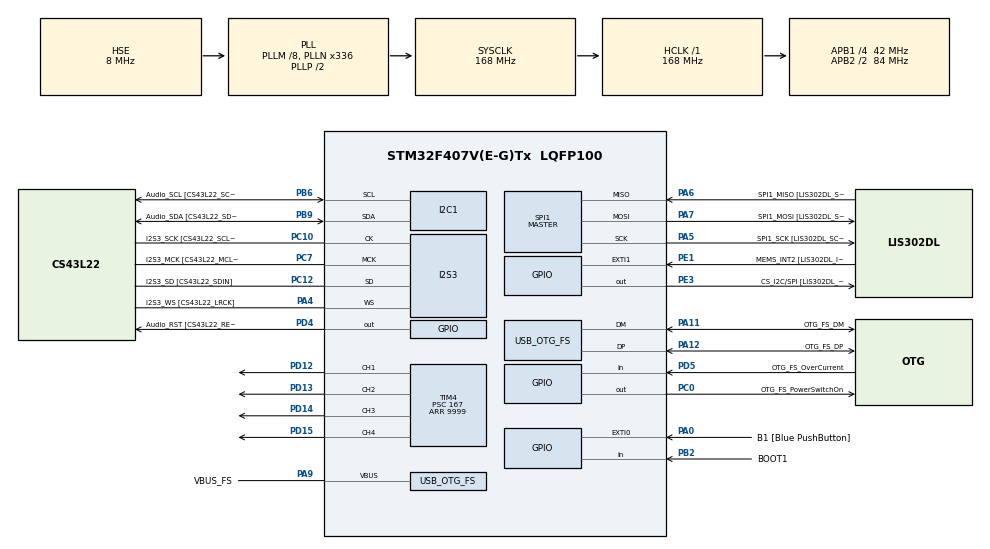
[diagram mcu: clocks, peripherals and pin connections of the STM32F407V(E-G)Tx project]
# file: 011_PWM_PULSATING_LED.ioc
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I2S3.AudioFreq-Half_Duplex_Master=I2S_AUDIOFREQ_96K
I2S3.ErrorAudioFreq=-2.34 %
I2S3.ErrorAudioFreq-Half_Duplex_Master=0.8 %
I2S3.FullDuplexMode=I2S_FULLDUPLEXMODE_DISABLE
I2S3.Instance=SPI$Index
I2S3.RealAudioFreq=93.75 KHz
I2S3.RealAudioFreq-Half_Duplex_Master=96.774 KHz
I2S3.VirtualMode=I2S_MODE_MASTER
Mcu.Family=STM32F4
Mcu.Name=STM32F407V(E-G)Tx
Mcu.Package=LQFP100
NVIC.OTG_FS_IRQn=true\:0\:0\:false\:false\:true\:true\:true\:true
NVIC.PriorityGroup=NVIC_PRIORITYGROUP_0
PA0-WKUP.GPIO_Label=B1 [Blue PushButton]
PA0-WKUP.GPIO_ModeDefaultEXTI=GPIO_MODE_EVT_RISING
PA0-WKUP.GPIO_PuPd=GPIO_NOPULL
PA0-WKUP.Signal=GPXTI0
PA10.GPIO_Label=OTG_FS_ID
PA10.GPIO_Mode=GPIO_MODE_AF_PP
PA10.GPIO_PuPd=GPIO_NOPULL
PA10.GPIO_Speed=GPIO_SPEED_FREQ_LOW
PA10.Signal=USB_OTG_FS_ID
PA11.GPIO_Label=OTG_FS_DM
PA11.GPIO_Mode=GPIO_MODE_AF_PP
PA11.GPIO_PuPd=GPIO_NOPULL
PA11.GPIO_Speed=GPIO_SPEED_FREQ_LOW
PA11.Mode=Host_Only
PA11.Signal=USB_OTG_FS_DM
PA12.GPIO_Label=OTG_FS_DP
PA12.GPIO_Mode=GPIO_MODE_AF_PP
PA12.GPIO_PuPd=GPIO_NOPULL
PA12.GPIO_Speed=GPIO_SPEED_FREQ_LOW
PA12.Mode=Host_Only
PA12.Signal=USB_OTG_FS_DP
PA13.GPIO_Label=SWDIO
PA13.Mode=Serial_Wire
PA13.Signal=SYS_JTMS-SWDIO
PA14.GPIO_Label=SWCLK
PA14.Mode=Serial_Wire
PA14.Signal=SYS_JTCK-SWCLK
PA4.GPIO_Label=I2S3_WS [CS43L22_LRCK]
PA4.GPIO_Mode=GPIO_MODE_AF_PP
PA4.GPIO_PuPd=GPIO_NOPULL
PA4.GPIO_Speed=GPIO_SPEED_FREQ_LOW
PA4.Mode=Half_Duplex_Master
PA4.Signal=I2S3_WS
PA5.GPIO_Label=SPI1_SCK [LIS302DL_SCL/SPC]
PA5.GPIO_Mode=GPIO_MODE_AF_PP
PA5.GPIO_PuPd=GPIO_NOPULL
PA5.GPIO_Speed=GPIO_SPEED_FREQ_LOW
PA5.Mode=Full_Duplex_Master
PA5.Signal=SPI1_SCK
PA6.GPIO_Label=SPI1_MISO [LIS302DL_SDO]
PA6.GPIO_Mode=GPIO_MODE_AF_PP
PA6.GPIO_PuPd=GPIO_NOPULL
PA6.GPIO_Speed=GPIO_SPEED_FREQ_LOW
PA6.Mode=Full_Duplex_Master
PA6.Signal=SPI1_MISO
PA7.GPIO_Label=SPI1_MOSI [LIS302DL_SDA/SDI/SDO]
PA7.GPIO_Mode=GPIO_MODE_AF_PP
PA7.GPIO_PuPd=GPIO_NOPULL
PA7.GPIO_Speed=GPIO_SPEED_FREQ_LOW
PA7.Mode=Full_Duplex_Master
PA7.Signal=SPI1_MOSI
PA9.GPIO_Label=VBUS_FS
PA9.GPIO_Mode=GPIO_MODE_INPUT
PA9.GPIO_PuPd=GPIO_NOPULL
PA9.Mode=Activate_VBUS
PA9.Signal=USB_OTG_FS_VBUS
PB10.GPIO_Label=CLK_IN [MP45DT02_CLK]
PB10.GPIO_Mode=GPIO_MODE_AF_PP
PB10.GPIO_PuPd=GPIO_NOPULL
PB10.GPIO_Speed=GPIO_SPEED_FREQ_LOW
PB10.Signal=I2S2_CK
PB2.GPIO_Label=BOOT1
PB2.GPIO_Mode=GPIO_MODE_INPUT
PB2.GPIO_PuPd=GPIO_NOPULL
PB2.Signal=GPIO_Input
PB3.GPIO_Label=SWO
PB3.Signal=SYS_JTDO-SWO
PB6.GPIO_Label=Audio_SCL [CS43L22_SCL]
PB6.GPIO_Mode=GPIO_MODE_AF_OD
PB6.GPIO_PuPd=GPIO_NOPULL
PB6.GPIO_Speed=GPIO_SPEED_FREQ_LOW
PB6.Mode=I2C
PB6.Signal=I2C1_SCL
PB9.GPIO_Label=Audio_SDA [CS43L22_SDA]
PB9.GPIO_Mode=GPIO_MODE_AF_OD
PB9.GPIO_PuPd=GPIO_NOPULL
PB9.GPIO_Speed=GPIO_SPEED_FREQ_LOW
PB9.Mode=I2C
PB9.Signal=I2C1_SDA
PC0.GPIO_Label=OTG_FS_PowerSwitchOn
PC0.GPIO_PuPd=GPIO_NOPULL
PC0.GPIO_Speed=GPIO_SPEED_FREQ_LOW
PC0.PinState=GPIO_PIN_SET
PC0.Signal=GPIO_Output
PC10.GPIO_Label=I2S3_SCK [CS43L22_SCLK]
PC10.GPIO_Mode=GPIO_MODE_AF_PP
PC10.GPIO_PuPd=GPIO_NOPULL
PC10.GPIO_Speed=GPIO_SPEED_FREQ_LOW
PC10.Mode=Half_Duplex_Master
PC10.Signal=I2S3_CK
PC12.GPIO_Label=I2S3_SD [CS43L22_SDIN]
PC12.GPIO_Mode=GPIO_MODE_AF_PP
PC12.GPIO_PuPd=GPIO_NOPULL
PC12.GPIO_Speed=GPIO_SPEED_FREQ_LOW
PC12.Mode=Half_Duplex_Master
PC12.Signal=I2S3_SD
PC14-OSC32_IN.GPIO_Label=PC14-OSC32_IN
PC14-OSC32_IN.Mode=LSE-External-Oscillator
PC14-OSC32_IN.Signal=RCC_OSC32_IN
PC15-OSC32_OUT.GPIO_Label=PC15-OSC32_OUT
PC15-OSC32_OUT.Mode=LSE-External-Oscillator
PC15-OSC32_OUT.Signal=RCC_OSC32_OUT
PC3.GPIO_Label=PDM_OUT [MP45DT02_DOUT]
PC3.GPIO_Mode=GPIO_MODE_AF_PP
PC3.GPIO_PuPd=GPIO_NOPULL
PC3.GPIO_Speed=GPIO_SPEED_FREQ_LOW
PC3.Signal=I2S2_SD
PC7.GPIO_Label=I2S3_MCK [CS43L22_MCLK]
PC7.GPIO_Mode=GPIO_MODE_AF_PP
PC7.GPIO_PuPd=GPIO_NOPULL
PC7.GPIO_Speed=GPIO_SPEED_FREQ_LOW
PC7.Mode=Master_Clock_Activated
PC7.Signal=I2S3_MCK
PD12.Signal=S_TIM4_CH1
PD13.Signal=S_TIM4_CH2
PD14.Signal=S_TIM4_CH3
PD15.Signal=S_TIM4_CH4
PD4.GPIO_Label=Audio_RST [CS43L22_RESET]
PD4.GPIO_PuPd=GPIO_NOPULL
PD4.GPIO_Speed=GPIO_SPEED_FREQ_LOW
PD4.Signal=GPIO_Output
PD5.GPIO_Label=OTG_FS_OverCurrent
PD5.GPIO_Mode=GPIO_MODE_INPUT
PD5.GPIO_PuPd=GPIO_NOPULL
PD5.Signal=GPIO_Input
PE1.GPIO_Label=MEMS_INT2 [LIS302DL_INT2]
PE1.GPIO_ModeDefaultEXTI=GPIO_MODE_EVT_RISING
PE1.GPIO_PuPd=GPIO_NOPULL
PE1.Signal=GPXTI1
PE3.GPIO_Label=CS_I2C/SPI [LIS302DL_CS_I2C/SPI]
PE3.GPIO_PuPd=GPIO_NOPULL
PE3.GPIO_Speed=GPIO_SPEED_FREQ_LOW
PE3.Signal=GPIO_Output
PH0-OSC_IN.GPIO_Label=PH0-OSC_IN
PH0-OSC_IN.Mode=HSE-External-Oscillator
PH0-OSC_IN.Signal=RCC_OSC_IN
PH1-OSC_OUT.GPIO_Label=PH1-OSC_OUT
PH1-OSC_OUT.Mode=HSE-External-Oscillator
PH1-OSC_OUT.Signal=RCC_OSC_OUT
ProjectManager.HeapSize=0x200
ProjectManager.StackSize=0x400
ProjectManager.TargetToolchain=STM32CubeIDE
RCC.48MHZClocksFreq_Value=48000000
RCC.AHBFreq_Value=168000000
RCC.APB1CLKDivider=RCC_HCLK_DIV4
RCC.APB1Freq_Value=42000000
RCC.APB1TimFreq_Value=84000000
RCC.APB2CLKDivider=RCC_HCLK_DIV2
RCC.APB2Freq_Value=84000000
RCC.APB2TimFreq_Value=168000000
RCC.CortexFreq_Value=168000000
RCC.HCLKFreq_Value=168000000
RCC.HSE_VALUE=8000000
RCC.HSI_VALUE=16000000
RCC.PLLM=8
RCC.PLLN=336
RCC.PLLQ=7
RCC.SYSCLKFreq_VALUE=168000000
RCC.SYSCLKSource=RCC_SYSCLKSOURCE_PLLCLK
RCC.VCOOutputFreq_Value=336000000
SH.S_TIM4_CH1.0=TIM4_CH1,PWM Generation1 CH1
SH.S_TIM4_CH2.0=TIM4_CH2,PWM Generation2 CH2
SH.S_TIM4_CH3.0=TIM4_CH3,PWM Generation3 CH3
SH.S_TIM4_CH4.0=TIM4_CH4,PWM Generation4 CH4
SPI1.BaudRatePrescaler-Full_Duplex_Master=SPI_BAUDRATEPRESCALER_2
SPI1.CalculateBaudRate-Full_Duplex_Master=42.0 MBits/s
SPI1.Direction=SPI_DIRECTION_2LINES
SPI1.Mode=SPI_MODE_MASTER
SPI1.Mode-Full_Duplex_Master=SPI_MODE_MASTER
SPI1.VirtualType=VM_MASTER
TIM4.Channel-PWM\ Generation1\ CH1=TIM_CHANNEL_1
TIM4.Channel-PWM\ Generation2\ CH2=TIM_CHANNEL_2
TIM4.Channel-PWM\ Generation3\ CH3=TIM_CHANNEL_3
TIM4.Channel-PWM\ Generation4\ CH4=TIM_CHANNEL_4
TIM4.Period=9999
TIM4.Prescaler=167
TIM4.Pulse-PWM\ Generation1\ CH1=9999
TIM4.Pulse-PWM\ Generation2\ CH2=4999
TIM4.Pulse-PWM\ Generation3\ CH3=2499
TIM4.Pulse-PWM\ Generation4\ CH4=1249
USB_HOST.BSP.number=1
USB_HOST.USBH_HandleTypeDef-CDC_FS=hUsbHostFS
USB_HOST.VirtualModeFS=Cdc
USB_HOST0.BSP.STBoard=false
USB_HOST0.BSP.api=Unknown
USB_HOST0.BSP.instance=PC0
USB_HOST0.BSP.ip=GPIO
USB_HOST0.BSP.mode=Output
USB_HOST0.BSP.name=Drive_VBUS_FS
USB_HOST0.BSP.solution=PC0
USB_OTG_FS.VirtualMode=Host_Only
USB_OTG_FS.phy_itface=HCD_PHY_EMBEDDED
VP_TIM4_VS_ClockSourceINT.Mode=Internal
VP_USB_HOST_VS_USB_HOST_CDC_FS.Mode=CDC_FS
board=STM32F407G-DISC1

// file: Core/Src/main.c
/* USER CODE BEGIN Header */
/**
  ******************************************************************************
  * @file           : main.c
  * @brief          : Main program body
  ******************************************************************************
  * @attention
  *
  * Copyright (c) 2023 STMicroelectronics.
  * All rights reserved.
  *
  * This software is licensed under terms that can be found in the LICENSE file
  * in the root directory of this software component.
  * If no LICENSE file comes with this software, it is provided AS-IS.
  *
  ******************************************************************************
  */
/* USER CODE END Header */
#include "main.h"
#include "math.h"
#include "usb_host.h"

I2C_HandleTypeDef hi2c1;

I2S_HandleTypeDef hi2s3;

SPI_HandleTypeDef hspi1;

TIM_HandleTypeDef htim4;
TIM_OC_InitTypeDef htim4_sConfigOC;

void SystemClock_Config(void);
static void MX_GPIO_Init(void);
static void MX_I2C1_Init(void);
static void MX_I2S3_Init(void);
static void MX_SPI1_Init(void);
static void MX_TIM4_Init(void);
void MX_USB_HOST_Process(void);

int main(void)
{

  /* MCU Configuration--------------------------------------------------------*/

  /* Reset of all peripherals, Initializes the Flash interface and the Systick. */
  HAL_Init();

  /* Configure the system clock */
  SystemClock_Config();

  /* Initialize all configured peripherals */
  MX_GPIO_Init();
  MX_I2C1_Init();
  MX_I2S3_Init();
  MX_SPI1_Init();
  MX_USB_HOST_Init();
  MX_TIM4_Init();
  /* USER CODE BEGIN 2 */

  HAL_TIM_PWM_Start(&htim4, TIM_CHANNEL_1);
  HAL_TIM_PWM_Start(&htim4, TIM_CHANNEL_2);
  HAL_TIM_PWM_Start(&htim4, TIM_CHANNEL_3);
  HAL_TIM_PWM_Start(&htim4, TIM_CHANNEL_4);

  uint32_t htim4_ch_pulses[4] = {0,0,0,0};
  uint32_t htim4_channel[4] = {TIM_CHANNEL_1, TIM_CHANNEL_2, TIM_CHANNEL_3, TIM_CHANNEL_4};
  double sine_counter = 0;
  double omega = (3.141592*2)/750;

  /* USER CODE END 2 */

  /* Infinite loop */
  while (1)
  {
    MX_USB_HOST_Process();

    /* USER CODE BEGIN 3 */

    // update pulse value and counter
    sine_counter+=1;
    uint32_t pulse_value = 2000+1999*sin(omega*(sine_counter));

    // set the values of the PWM on all channels
    for(int i=0;i<4;i++)
    {
    	htim4_ch_pulses[i] = pulse_value;
    	// stop timer channel
    	HAL_TIM_PWM_Stop(&htim4, htim4_channel[i]);
    	// change pulse time
    	htim4_sConfigOC.Pulse = htim4_ch_pulses[i];
    	// configure channel with new pulse time
    	HAL_TIM_PWM_ConfigChannel(&htim4, &htim4_sConfigOC, htim4_channel[i]);
    	// start timer with new pulse time configuration
    	HAL_TIM_PWM_Start(&htim4, htim4_channel[i]);
    }

    HAL_Delay(1);
  }
  /* USER CODE END 3 */
}

void SystemClock_Config(void)
{
  RCC_OscInitTypeDef RCC_OscInitStruct = {0};
  RCC_ClkInitTypeDef RCC_ClkInitStruct = {0};

  /** Configure the main internal regulator output voltage
  */
  __HAL_RCC_PWR_CLK_ENABLE();
  __HAL_PWR_VOLTAGESCALING_CONFIG(PWR_REGULATOR_VOLTAGE_SCALE1);

  /** Initializes the RCC Oscillators according to the specified parameters
  * in the RCC_OscInitTypeDef structure.
  */
  RCC_OscInitStruct.OscillatorType = RCC_OSCILLATORTYPE_HSE;
  RCC_OscInitStruct.HSEState = RCC_HSE_ON;
  RCC_OscInitStruct.PLL.PLLState = RCC_PLL_ON;
  RCC_OscInitStruct.PLL.PLLSource = RCC_PLLSOURCE_HSE;
  RCC_OscInitStruct.PLL.PLLM = 8;
  RCC_OscInitStruct.PLL.PLLN = 336;
  RCC_OscInitStruct.PLL.PLLP = RCC_PLLP_DIV2;
  RCC_OscInitStruct.PLL.PLLQ = 7;
  if (HAL_RCC_OscConfig(&RCC_OscInitStruct) != HAL_OK)
  {
    Error_Handler();
  }

  /** Initializes the CPU, AHB and APB buses clocks
  */
  RCC_ClkInitStruct.ClockType = RCC_CLOCKTYPE_HCLK|RCC_CLOCKTYPE_SYSCLK
                              |RCC_CLOCKTYPE_PCLK1|RCC_CLOCKTYPE_PCLK2;
  RCC_ClkInitStruct.SYSCLKSource = RCC_SYSCLKSOURCE_PLLCLK;
  RCC_ClkInitStruct.AHBCLKDivider = RCC_SYSCLK_DIV1;
  RCC_ClkInitStruct.APB1CLKDivider = RCC_HCLK_DIV4;
  RCC_ClkInitStruct.APB2CLKDivider = RCC_HCLK_DIV2;

  if (HAL_RCC_ClockConfig(&RCC_ClkInitStruct, FLASH_LATENCY_5) != HAL_OK)
  {
    Error_Handler();
  }
}

static void MX_I2C1_Init(void)
{

  hi2c1.Instance = I2C1;
  hi2c1.Init.ClockSpeed = 100000;
  hi2c1.Init.DutyCycle = I2C_DUTYCYCLE_2;
  hi2c1.Init.OwnAddress1 = 0;
  hi2c1.Init.AddressingMode = I2C_ADDRESSINGMODE_7BIT;
  hi2c1.Init.DualAddressMode = I2C_DUALADDRESS_DISABLE;
  hi2c1.Init.OwnAddress2 = 0;
  hi2c1.Init.GeneralCallMode = I2C_GENERALCALL_DISABLE;
  hi2c1.Init.NoStretchMode = I2C_NOSTRETCH_DISABLE;
  if (HAL_I2C_Init(&hi2c1) != HAL_OK)
  {
    Error_Handler();
  }

}

static void MX_I2S3_Init(void)
{

  hi2s3.Instance = SPI3;
  hi2s3.Init.Mode = I2S_MODE_MASTER_TX;
  hi2s3.Init.Standard = I2S_STANDARD_PHILIPS;
  hi2s3.Init.DataFormat = I2S_DATAFORMAT_16B;
  hi2s3.Init.MCLKOutput = I2S_MCLKOUTPUT_ENABLE;
  hi2s3.Init.AudioFreq = I2S_AUDIOFREQ_96K;
  hi2s3.Init.CPOL = I2S_CPOL_LOW;
  hi2s3.Init.ClockSource = I2S_CLOCK_PLL;
  hi2s3.Init.FullDuplexMode = I2S_FULLDUPLEXMODE_DISABLE;
  if (HAL_I2S_Init(&hi2s3) != HAL_OK)
  {
    Error_Handler();
  }

}

static void MX_SPI1_Init(void)
{

  /* SPI1 parameter configuration*/
  hspi1.Instance = SPI1;
  hspi1.Init.Mode = SPI_MODE_MASTER;
  hspi1.Init.Direction = SPI_DIRECTION_2LINES;
  hspi1.Init.DataSize = SPI_DATASIZE_8BIT;
  hspi1.Init.CLKPolarity = SPI_POLARITY_LOW;
  hspi1.Init.CLKPhase = SPI_PHASE_1EDGE;
  hspi1.Init.NSS = SPI_NSS_SOFT;
  hspi1.Init.BaudRatePrescaler = SPI_BAUDRATEPRESCALER_2;
  hspi1.Init.FirstBit = SPI_FIRSTBIT_MSB;
  hspi1.Init.TIMode = SPI_TIMODE_DISABLE;
  hspi1.Init.CRCCalculation = SPI_CRCCALCULATION_DISABLE;
  hspi1.Init.CRCPolynomial = 10;
  if (HAL_SPI_Init(&hspi1) != HAL_OK)
  {
    Error_Handler();
  }

}

static void MX_TIM4_Init(void)
{

  TIM_ClockConfigTypeDef sClockSourceConfig = {0};
  TIM_MasterConfigTypeDef sMasterConfig = {0};
//  static TIM_OC_InitTypeDef sConfigOC = {0};

  htim4.Instance = TIM4;
  htim4.Init.Prescaler = 167;
  htim4.Init.CounterMode = TIM_COUNTERMODE_UP;
  htim4.Init.Period = 9999;
  htim4.Init.ClockDivision = TIM_CLOCKDIVISION_DIV1;
  htim4.Init.AutoReloadPreload = TIM_AUTORELOAD_PRELOAD_DISABLE;
  if (HAL_TIM_Base_Init(&htim4) != HAL_OK)
  {
    Error_Handler();
  }
  sClockSourceConfig.ClockSource = TIM_CLOCKSOURCE_INTERNAL;
  if (HAL_TIM_ConfigClockSource(&htim4, &sClockSourceConfig) != HAL_OK)
  {
    Error_Handler();
  }
  if (HAL_TIM_PWM_Init(&htim4) != HAL_OK)
  {
    Error_Handler();
  }
  sMasterConfig.MasterOutputTrigger = TIM_TRGO_RESET;
  sMasterConfig.MasterSlaveMode = TIM_MASTERSLAVEMODE_DISABLE;
  if (HAL_TIMEx_MasterConfigSynchronization(&htim4, &sMasterConfig) != HAL_OK)
  {
    Error_Handler();
  }
  htim4_sConfigOC.OCMode = TIM_OCMODE_PWM1;
  htim4_sConfigOC.Pulse = 9999;
  htim4_sConfigOC.OCPolarity = TIM_OCPOLARITY_HIGH;
  htim4_sConfigOC.OCFastMode = TIM_OCFAST_DISABLE;
  if (HAL_TIM_PWM_ConfigChannel(&htim4, &htim4_sConfigOC, TIM_CHANNEL_1) != HAL_OK)
  {
    Error_Handler();
  }
  htim4_sConfigOC.Pulse = 4999;
  if (HAL_TIM_PWM_ConfigChannel(&htim4, &htim4_sConfigOC, TIM_CHANNEL_2) != HAL_OK)
  {
    Error_Handler();
  }
  htim4_sConfigOC.Pulse = 2499;
  if (HAL_TIM_PWM_ConfigChannel(&htim4, &htim4_sConfigOC, TIM_CHANNEL_3) != HAL_OK)
  {
    Error_Handler();
  }
  htim4_sConfigOC.Pulse = 0;
  if (HAL_TIM_PWM_ConfigChannel(&htim4, &htim4_sConfigOC, TIM_CHANNEL_4) != HAL_OK)
  {
    Error_Handler();
  }
  HAL_TIM_MspPostInit(&htim4);

}

static void MX_GPIO_Init(void)
{
  GPIO_InitTypeDef GPIO_InitStruct = {0};

  /* GPIO Ports Clock Enable */
  __HAL_RCC_GPIOE_CLK_ENABLE();
  __HAL_RCC_GPIOC_CLK_ENABLE();
  __HAL_RCC_GPIOH_CLK_ENABLE();
  __HAL_RCC_GPIOA_CLK_ENABLE();
  __HAL_RCC_GPIOB_CLK_ENABLE();
  __HAL_RCC_GPIOD_CLK_ENABLE();

  /*Configure GPIO pin Output Level */
  HAL_GPIO_WritePin(CS_I2C_SPI_GPIO_Port, CS_I2C_SPI_Pin, GPIO_PIN_RESET);

  /*Configure GPIO pin Output Level */
  HAL_GPIO_WritePin(OTG_FS_PowerSwitchOn_GPIO_Port, OTG_FS_PowerSwitchOn_Pin, GPIO_PIN_SET);

  /*Configure GPIO pin Output Level */
  HAL_GPIO_WritePin(Audio_RST_GPIO_Port, Audio_RST_Pin, GPIO_PIN_RESET);

  /*Configure GPIO pin : CS_I2C_SPI_Pin */
  GPIO_InitStruct.Pin = CS_I2C_SPI_Pin;
  GPIO_InitStruct.Mode = GPIO_MODE_OUTPUT_PP;
  GPIO_InitStruct.Pull = GPIO_NOPULL;
  GPIO_InitStruct.Speed = GPIO_SPEED_FREQ_LOW;
  HAL_GPIO_Init(CS_I2C_SPI_GPIO_Port, &GPIO_InitStruct);

  /*Configure GPIO pin : OTG_FS_PowerSwitchOn_Pin */
  GPIO_InitStruct.Pin = OTG_FS_PowerSwitchOn_Pin;
  GPIO_InitStruct.Mode = GPIO_MODE_OUTPUT_PP;
  GPIO_InitStruct.Pull = GPIO_NOPULL;
  GPIO_InitStruct.Speed = GPIO_SPEED_FREQ_LOW;
  HAL_GPIO_Init(OTG_FS_PowerSwitchOn_GPIO_Port, &GPIO_InitStruct);

  /*Configure GPIO pin : PDM_OUT_Pin */
  GPIO_InitStruct.Pin = PDM_OUT_Pin;
  GPIO_InitStruct.Mode = GPIO_MODE_AF_PP;
  GPIO_InitStruct.Pull = GPIO_NOPULL;
  GPIO_InitStruct.Speed = GPIO_SPEED_FREQ_LOW;
  GPIO_InitStruct.Alternate = GPIO_AF5_SPI2;
  HAL_GPIO_Init(PDM_OUT_GPIO_Port, &GPIO_InitStruct);

  /*Configure GPIO pin : B1_Pin */
  GPIO_InitStruct.Pin = B1_Pin;
  GPIO_InitStruct.Mode = GPIO_MODE_EVT_RISING;
  GPIO_InitStruct.Pull = GPIO_NOPULL;
  HAL_GPIO_Init(B1_GPIO_Port, &GPIO_InitStruct);

  /*Configure GPIO pin : BOOT1_Pin */
  GPIO_InitStruct.Pin = BOOT1_Pin;
  GPIO_InitStruct.Mode = GPIO_MODE_INPUT;
  GPIO_InitStruct.Pull = GPIO_NOPULL;
  HAL_GPIO_Init(BOOT1_GPIO_Port, &GPIO_InitStruct);

  /*Configure GPIO pin : CLK_IN_Pin */
  GPIO_InitStruct.Pin = CLK_IN_Pin;
  GPIO_InitStruct.Mode = GPIO_MODE_AF_PP;
  GPIO_InitStruct.Pull = GPIO_NOPULL;
  GPIO_InitStruct.Speed = GPIO_SPEED_FREQ_LOW;
  GPIO_InitStruct.Alternate = GPIO_AF5_SPI2;
  HAL_GPIO_Init(CLK_IN_GPIO_Port, &GPIO_InitStruct);

  /*Configure GPIO pin : Audio_RST_Pin */
  GPIO_InitStruct.Pin = Audio_RST_Pin;
  GPIO_InitStruct.Mode = GPIO_MODE_OUTPUT_PP;
  GPIO_InitStruct.Pull = GPIO_NOPULL;
  GPIO_InitStruct.Speed = GPIO_SPEED_FREQ_LOW;
  HAL_GPIO_Init(Audio_RST_GPIO_Port, &GPIO_InitStruct);

  /*Configure GPIO pin : OTG_FS_OverCurrent_Pin */
  GPIO_InitStruct.Pin = OTG_FS_OverCurrent_Pin;
  GPIO_InitStruct.Mode = GPIO_MODE_INPUT;
  GPIO_InitStruct.Pull = GPIO_NOPULL;
  HAL_GPIO_Init(OTG_FS_OverCurrent_GPIO_Port, &GPIO_InitStruct);

  /*Configure GPIO pin : MEMS_INT2_Pin */
  GPIO_InitStruct.Pin = MEMS_INT2_Pin;
  GPIO_InitStruct.Mode = GPIO_MODE_EVT_RISING;
  GPIO_InitStruct.Pull = GPIO_NOPULL;
  HAL_GPIO_Init(MEMS_INT2_GPIO_Port, &GPIO_InitStruct);

}

void Error_Handler(void)
{
  __disable_irq();
  while (1)
  {
  }
}
